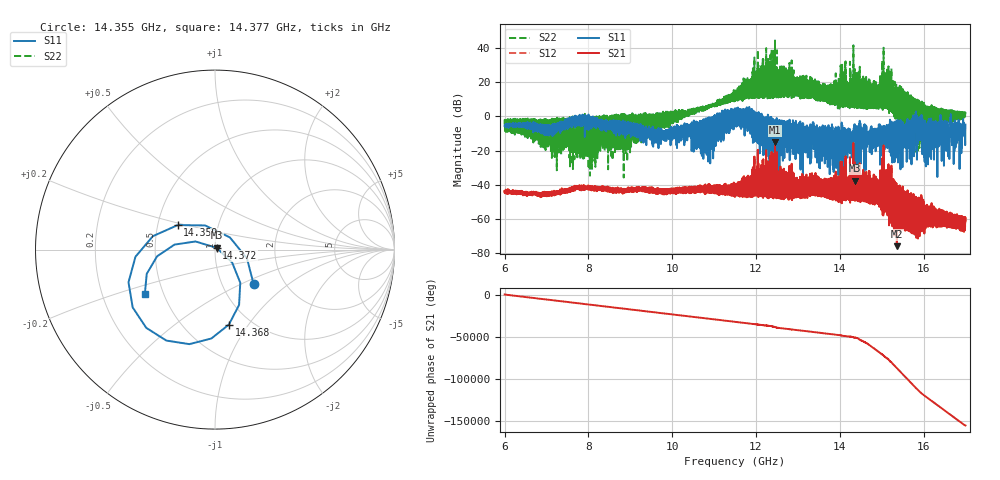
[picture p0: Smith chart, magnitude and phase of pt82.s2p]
#  HZ  S  RI  R  50.00
! Rohde & Schwarz Vector Network Analyzer
! Rohde-Schwarz,ZNA67-2Port,1332450062101215,3.01
! Created: UTC 10/19/2026, 9:57:31 AM
! freq[Hz]  re:S11  im:S11  re:S21  im:S21  re:S12  im:S12  re:S22  im:S22
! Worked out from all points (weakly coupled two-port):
!   11001 points, 6 GHz to 17 GHz, reference 50 ohm
!   highest |S21| = -15.09 dB at 12.455 GHz (marker M1); lowest = -75.8 dB at 15.365 GHz (marker M2)
!   lowest |S11| = -37.6 dB at 14.372 GHz (marker M3), VSWR 1.03, Z = 50.9 + j1.01 ohm
!   |S11| at or under -10 dB: 13.60857 GHz to 13.64581 GHz (37.24 MHz wide, 0.273 % of centre); 13.92 GHz to 13.94982 GHz (29.81 MHz wide, 0.214 % of centre); 14.27929 GHz to 14.31629 GHz (37 MHz wide, 0.259 % of centre) (the widest 3 of 552)
!   |S22| runs from -35.7 to 44.3 dB; largest |S21 - S12| = 0.0085
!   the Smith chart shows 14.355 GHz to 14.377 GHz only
!   S11 on the Smith chart (normalised r, x): 14.355 GHz: 1.40, -0.59; 14.359 GHz: 0.64, +0.19; 14.368 GHz: 0.80, -0.81; 14.372 GHz: 1.02, +0.02; 14.377 GHz: 0.39, -0.25
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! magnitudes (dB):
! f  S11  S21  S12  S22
! 6 GHz  -5.6  -43.6  -43.6  -4.8
! 7.09 GHz  -5.9  -44.9  -44.8  -3.4
! 7.834 GHz  -3.1  -41.3  -41.2  -1.1
! 9.667 GHz  -7.1  -43.3  -43.6  1.5
! 10.738 GHz  -2.4  -44.2  -44.3  4.3
! 11.5 GHz  4.6  -44.0  -44.0  10.9
! 11.799 GHz  -8.1  -34.9  -34.8  22.3
! 12.455 GHz  -17.5  -15.1  -14.9  44.3
! 13.334 GHz  -12.3  -43.1  -43.1  13.7
! 13.886 GHz  -17.2  -46.7  -46.6  7.1
! 14.355 GHz  -10.8  -45.3  -45.3  7.4
! 14.359 GHz  -12.1  -46.5  -46.5  7.7
! 14.368 GHz  -7.4  -38.7  -38.7  14.2
! 14.372 GHz  -37.6  -42.5  -42.5  13.0
! 14.377 GHz  -6.7  -47.6  -47.7  5.1
! 15.167 GHz  -12.8  -53.7  -53.7  6.5
! 15.365 GHz  -24.1  -75.8  -75.6  -0.3
! 15.677 GHz  -3.4  -50.5  -50.3  7.0
! 15.785 GHz  -8.9  -56.4  -56.6  1.8
! 16.052 GHz  -9.2  -53.2  -53.5  5.4
! 16.861 GHz  -30.7  -65.3  -65.6  -0.8
! 17 GHz  -4.8  -61.5  -61.8  1.6
